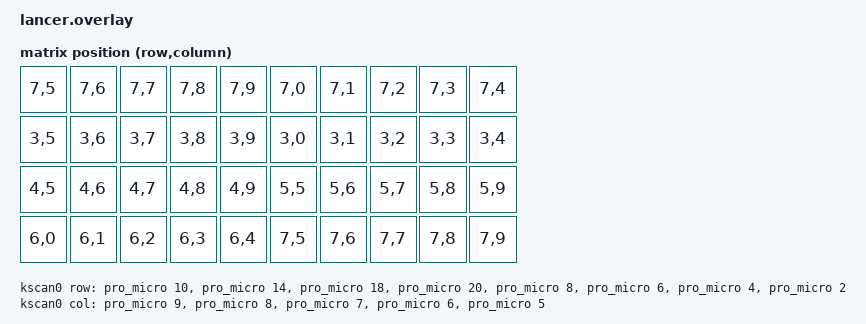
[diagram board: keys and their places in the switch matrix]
#include <dt-bindings/zmk/matrix_transform.h>

/ {
    chosen {
        zmk,kscan = &kscan0;
	zmk,matrix_transform = &default_transform;
    };

    kscan0: kscan_0 {
        compatible = "zmk,kscan-gpio-matrix";
        label = "KSCAN";
        diode-direction = "col2row";

        row-gpios = <&pro_micro 10 (GPIO_ACTIVE_HIGH | GPIO_PULL_DOWN)>,
                    <&pro_micro 14 (GPIO_ACTIVE_HIGH | GPIO_PULL_DOWN)>,
                    <&pro_micro 18 (GPIO_ACTIVE_HIGH | GPIO_PULL_DOWN)>,
                    <&pro_micro 20 (GPIO_ACTIVE_HIGH | GPIO_PULL_DOWN)>,
                    <&pro_micro  8 (GPIO_ACTIVE_HIGH | GPIO_PULL_DOWN)>,
                    <&pro_micro  6 (GPIO_ACTIVE_HIGH | GPIO_PULL_DOWN)>,
                    <&pro_micro  4 (GPIO_ACTIVE_HIGH | GPIO_PULL_DOWN)>,
                    <&pro_micro  2 (GPIO_ACTIVE_HIGH | GPIO_PULL_DOWN)>;

        col-gpios = <&pro_micro  9 GPIO_ACTIVE_HIGH>,
		    <&pro_micro  8 GPIO_ACTIVE_HIGH>,
		    <&pro_micro  7 GPIO_ACTIVE_HIGH>,
		    <&pro_micro  6 GPIO_ACTIVE_HIGH>,
		    <&pro_micro  5 GPIO_ACTIVE_HIGH>;
    };

    default_transform: matrix_transform {
        compatible = "zmk,matrix-transform";
        rows = <8>;
        columns = <10>;

        map = <
            RC(7,5) RC(7,6) RC(7,7) RC(7,8) RC(7,9) RC(7,0) RC(7,1) RC(7,2) RC(7,3) RC(7,4)
            RC(3,5) RC(3,6) RC(3,7) RC(3,8) RC(3,9) RC(3,0) RC(3,1) RC(3,2) RC(3,3) RC(3,4)
            RC(4,5) RC(4,6) RC(4,7) RC(4,8) RC(4,9) RC(5,5) RC(5,6) RC(5,7) RC(5,8) RC(5,9)
            RC(6,0) RC(6,1) RC(6,2) RC(6,3) RC(6,4) RC(7,5) RC(7,6) RC(7,7) RC(7,8) RC(7,9)
        >;
    };
};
